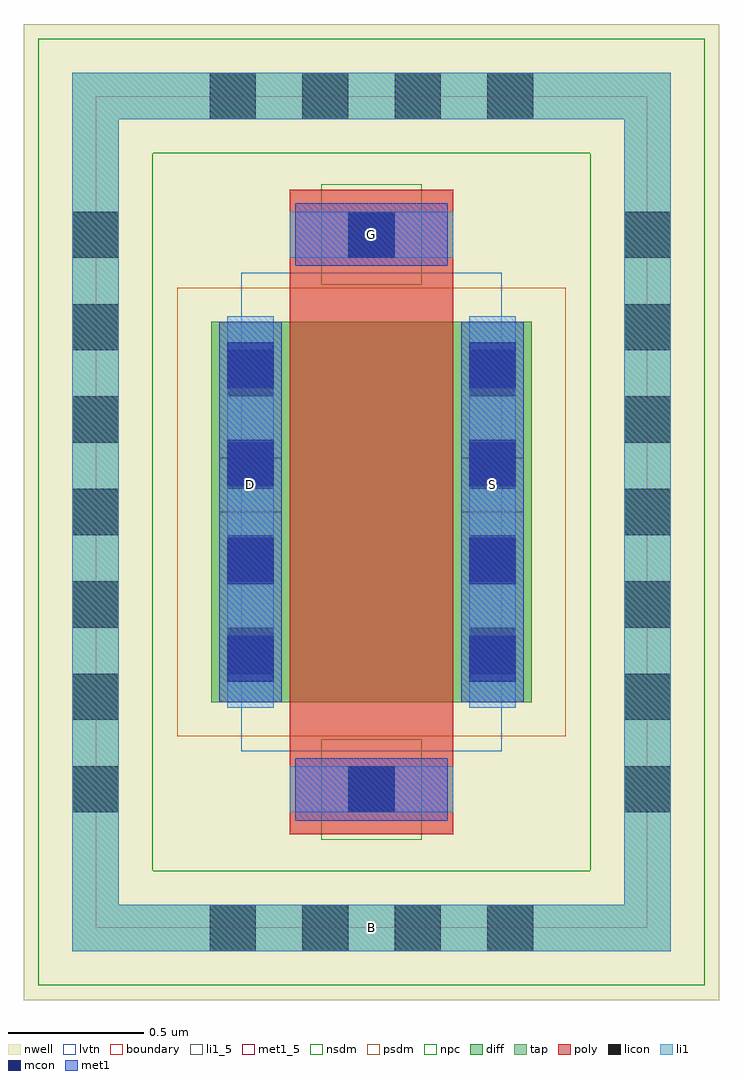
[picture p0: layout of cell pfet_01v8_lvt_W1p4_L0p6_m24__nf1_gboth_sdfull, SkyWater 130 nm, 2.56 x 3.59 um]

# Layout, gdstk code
import gdstk
lib = gdstk.Library(unit=1e-6, precision=1e-09)
def R(c, l, rs):  # rectangles x0, y0, x1, y1
    for r in rs: c.add(gdstk.rectangle(r[:2], r[2:], *l))
def A(c, l, x, y, w, h, nx, ny, dx, dy):  # array of equal rectangles
    R(c, l, [(x+i*dx, y+j*dy, x+i*dx+w, y+j*dy+h) for i in range(nx) for j in range(ny)])
nwell = (64, 20)
diff = (65, 20)
tap = (65, 44)
poly = (66, 20)
licon = (66, 44)
li1_5 = (67, 5)
li1 = (67, 20)
mcon = (67, 44)
met1_5 = (68, 5)
met1 = (68, 20)
nsdm = (93, 44)
psdm = (94, 20)
npc = (95, 20)
lvtn = (125, 44)
boundary = (235, 4)

sky130_fd_pr__pfet_01v8_ = lib.new_cell('sky130_fd_pr__pfet_01v8_lvt_8S9UGE')
R(sky130_fd_pr__pfet_01v8_, nwell, [(-1.28,-1.795,1.28,1.795)])
R(sky130_fd_pr__pfet_01v8_, diff, [(-0.59,-0.7,0.59,0.7)])
R(sky130_fd_pr__pfet_01v8_, tap, [(-1.1,-1.615,1.1,-1.445), (-1.1,-1.445,-0.93,1.445), (0.93,-1.445,1.1,1.445), (-1.1,1.445,1.1,1.615)])
R(sky130_fd_pr__pfet_01v8_, poly, [(-0.3,-1.185,0.3,1.185)])
A(sky130_fd_pr__pfet_01v8_, licon, -0.595, -1.615, 0.17, 0.17, 4, 2, 0.34, 3.06)
A(sky130_fd_pr__pfet_01v8_, licon, -1.1, -1.105, 0.17, 0.17, 3, 2, 1.015, 2.04)
A(sky130_fd_pr__pfet_01v8_, licon, -1.1, -0.765, 0.17, 0.17, 1, 5, 0, 0.34)
A(sky130_fd_pr__pfet_01v8_, licon, 0.93, -0.765, 0.17, 0.17, 1, 5, 0, 0.34)
A(sky130_fd_pr__pfet_01v8_, licon, -0.53, -0.595, 0.17, 0.17, 1, 4, 0, 0.34)
A(sky130_fd_pr__pfet_01v8_, licon, 0.36, -0.595, 0.17, 0.17, 1, 4, 0, 0.34)
R(sky130_fd_pr__pfet_01v8_, li1, [(-1.1,-1.615,1.1,-1.445), (-1.1,-1.445,-0.93,1.445), (0.93,-1.445,1.1,1.445), (-0.3,-1.105,0.3,-0.935), (-0.53,-0.72,-0.36,0.72), (0.36,-0.72,0.53,0.72), (-0.3,0.935,0.3,1.105), (-1.1,1.445,1.1,1.615)])
A(sky130_fd_pr__pfet_01v8_, mcon, -0.53, -0.625, 0.17, 0.17, 1, 4, 0, 0.36)
A(sky130_fd_pr__pfet_01v8_, mcon, 0.36, -0.625, 0.17, 0.17, 1, 4, 0, 0.36)
R(sky130_fd_pr__pfet_01v8_, mcon, [(-0.085,-1.105,0.085,-0.935), (-0.085,0.935,0.085,1.105)])
R(sky130_fd_pr__pfet_01v8_, met1, [(-0.28,-1.135,0.28,-0.905), (-0.56,-0.7,-0.33,0.7), (0.33,-0.7,0.56,0.7), (-0.28,0.905,0.28,1.135)])
R(sky130_fd_pr__pfet_01v8_, nsdm, [(-1.225,-1.74,1.225,-1.32), (-1.225,-1.32,-0.805,1.32), (0.805,-1.32,1.225,1.32), (-1.225,1.32,1.225,1.74)])
R(sky130_fd_pr__pfet_01v8_, psdm, [(-0.715,-0.825,0.715,0.825)])
R(sky130_fd_pr__pfet_01v8_, npc, [(-0.185,-1.205,0.185,-0.835), (-0.185,0.835,0.185,1.205)])
R(sky130_fd_pr__pfet_01v8_, lvtn, [(-0.48,-0.88,0.48,0.88)])
R(sky130_fd_pr__pfet_01v8_, boundary, [(-1.015,-1.53,1.015,1.53)])
sky130_fd_pr__pfet_01v8_.add(gdstk.Label('B', (0,-1.53), layer=67, texttype=5))
sky130_fd_pr__pfet_01v8_.add(gdstk.Label('D', (-0.445,0), layer=67, texttype=5))
sky130_fd_pr__pfet_01v8_.add(gdstk.Label('S', (0.445,0), layer=67, texttype=5))
sky130_fd_pr__pfet_01v8_.add(gdstk.Label('G', (0,1.02), layer=67, texttype=5))

pfet_01v8_lvt_w1p4_l0p6_ = lib.new_cell('pfet_01v8_lvt_W1p4_L0p6_m24__nf1_gboth_sdfull')
R(pfet_01v8_lvt_w1p4_l0p6_, li1_5, [(0.93,-0.085,1.1,0.085)])
R(pfet_01v8_lvt_w1p4_l0p6_, li1, [(0.93,-0.085,1.1,0.085)])
R(pfet_01v8_lvt_w1p4_l0p6_, met1_5, [(0.455,1.53,0.685,1.73), (1.345,1.53,1.575,1.73), (0.735,2.435,1.295,2.665)])
R(pfet_01v8_lvt_w1p4_l0p6_, met1, [(0.455,1.53,0.685,1.73), (1.345,1.53,1.575,1.73), (0.735,2.435,1.295,2.665)])
pfet_01v8_lvt_w1p4_l0p6_.add(gdstk.Reference(sky130_fd_pr__pfet_01v8_, (1.015,1.53)))
pfet_01v8_lvt_w1p4_l0p6_.add(gdstk.Label('D', (0.57,1.63), layer=68, texttype=5))
pfet_01v8_lvt_w1p4_l0p6_.add(gdstk.Label('S', (1.46,1.63), layer=68, texttype=5))
pfet_01v8_lvt_w1p4_l0p6_.add(gdstk.Label('G', (1.015,2.55), layer=68, texttype=5))
pfet_01v8_lvt_w1p4_l0p6_.add(gdstk.Label('B', (1.015,0), layer=67, texttype=5))

lib.write_gds('pfet_01v8_lvt_W1p4_L0p6_m24__nf1_gboth_sdfull.gds')
